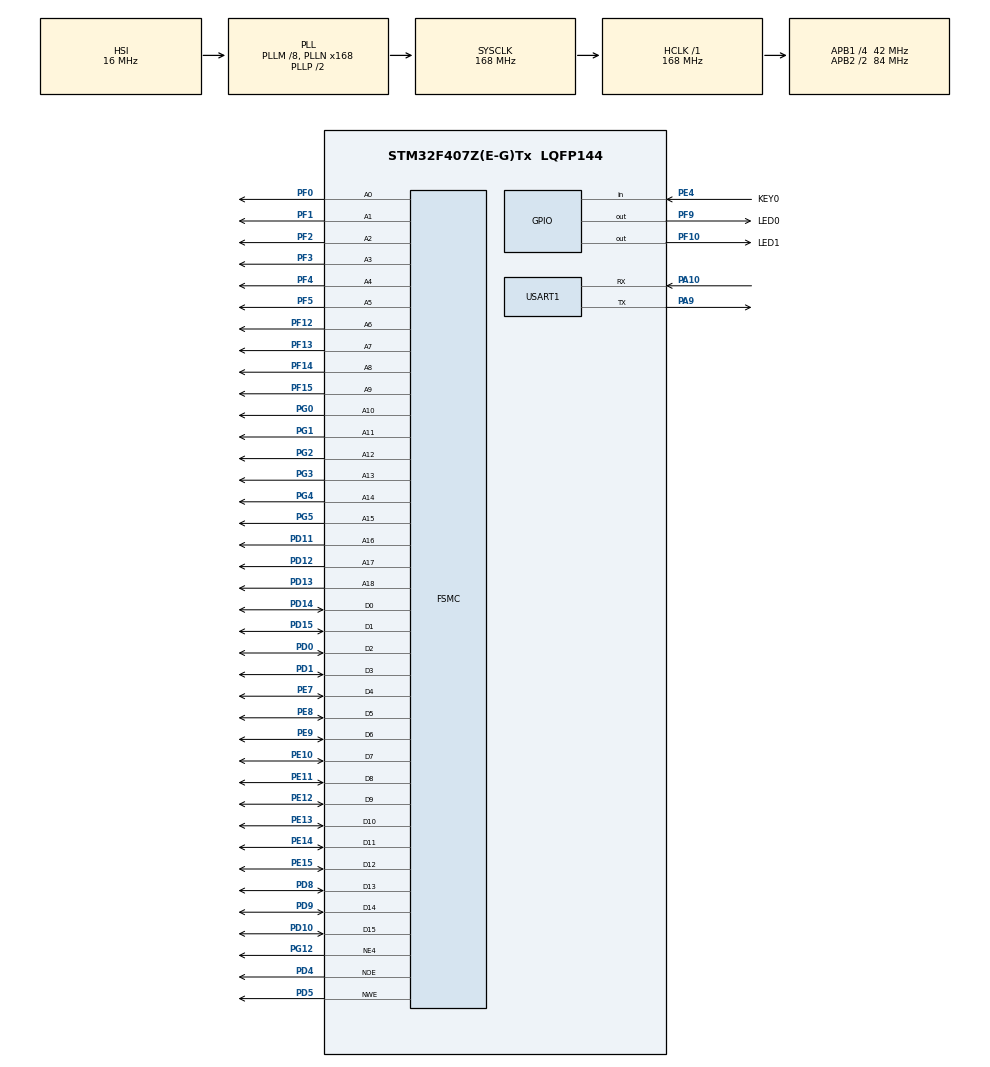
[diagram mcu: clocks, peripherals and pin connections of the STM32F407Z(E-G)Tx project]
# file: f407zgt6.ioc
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Mcu.Family=STM32F4
Mcu.Name=STM32F407Z(E-G)Tx
Mcu.Package=LQFP144
NVIC.PriorityGroup=NVIC_PRIORITYGROUP_4
NVIC.TIM2_IRQn=true\:2\:0\:true\:false\:true\:true\:true\:true
NVIC.USART1_IRQn=true\:4\:0\:true\:false\:true\:true\:true\:true
PA10.Mode=Asynchronous
PA10.Signal=USART1_RX
PA9.Mode=Asynchronous
PA9.Signal=USART1_TX
PD0.Signal=FSMC_D2_DA2
PD1.Signal=FSMC_D3_DA3
PD10.Signal=FSMC_D15_DA15
PD11.Signal=FSMC_A16_CLE
PD12.Signal=FSMC_A17_ALE
PD13.Signal=FSMC_A18
PD14.Signal=FSMC_D0_DA0
PD15.Signal=FSMC_D1_DA1
PD4.Signal=FSMC_NOE
PD5.Signal=FSMC_NWE
PD8.Signal=FSMC_D13_DA13
PD9.Signal=FSMC_D14_DA14
PE10.Signal=FSMC_D7_DA7
PE11.Signal=FSMC_D8_DA8
PE12.Signal=FSMC_D9_DA9
PE13.Signal=FSMC_D10_DA10
PE14.Signal=FSMC_D11_DA11
PE15.Signal=FSMC_D12_DA12
PE4.GPIO_Label=KEY0
PE4.GPIO_PuPd=GPIO_PULLDOWN
PE4.Signal=GPIO_Input
PE7.Signal=FSMC_D4_DA4
PE8.Signal=FSMC_D5_DA5
PE9.Signal=FSMC_D6_DA6
PF0.Signal=FSMC_A0
PF1.Signal=FSMC_A1
PF10.GPIO_Label=LED1
PF10.PinState=GPIO_PIN_SET
PF10.Signal=GPIO_Output
PF12.Signal=FSMC_A6
PF13.Signal=FSMC_A7
PF14.Signal=FSMC_A8
PF15.Signal=FSMC_A9
PF2.Signal=FSMC_A2
PF3.Signal=FSMC_A3
PF4.Signal=FSMC_A4
PF5.Signal=FSMC_A5
PF9.GPIO_Label=LED0
PF9.PinState=GPIO_PIN_SET
PF9.Signal=GPIO_Output
PG0.Signal=FSMC_A10
PG1.Signal=FSMC_A11
PG12.Mode=NorPsramChipSelect4_1
PG12.Signal=FSMC_NE4
PG2.Signal=FSMC_A12
PG3.Signal=FSMC_A13
PG4.Signal=FSMC_A14
PG5.Signal=FSMC_A15
PH0-OSC_IN.Mode=HSE-External-Oscillator
PH0-OSC_IN.Signal=RCC_OSC_IN
PH1-OSC_OUT.Mode=HSE-External-Oscillator
PH1-OSC_OUT.Signal=RCC_OSC_OUT
ProjectManager.HeapSize=0x200
ProjectManager.StackSize=0x400
ProjectManager.TargetToolchain=STM32CubeIDE
RCC.48MHZClocksFreq_Value=84000000
RCC.AHBFreq_Value=168000000
RCC.APB1CLKDivider=RCC_HCLK_DIV4
RCC.APB1Freq_Value=42000000
RCC.APB1TimFreq_Value=84000000
RCC.APB2CLKDivider=RCC_HCLK_DIV2
RCC.APB2Freq_Value=84000000
RCC.APB2TimFreq_Value=168000000
RCC.CortexFreq_Value=168000000
RCC.HCLKFreq_Value=168000000
RCC.HSE_VALUE=8000000
RCC.HSI_VALUE=16000000
RCC.LSE_VALUE=32768
RCC.PLLM=8
RCC.PLLN=168
RCC.SYSCLKFreq_VALUE=168000000
RCC.SYSCLKSource=RCC_SYSCLKSOURCE_PLLCLK
RCC.VCOOutputFreq_Value=336000000
SH.FSMC_A0.0=FSMC_A0,19b-a1
SH.FSMC_A1.0=FSMC_A1,19b-a1
SH.FSMC_A10.0=FSMC_A10,19b-a1
SH.FSMC_A11.0=FSMC_A11,19b-a1
SH.FSMC_A12.0=FSMC_A12,19b-a1
SH.FSMC_A13.0=FSMC_A13,19b-a1
SH.FSMC_A14.0=FSMC_A14,19b-a1
SH.FSMC_A15.0=FSMC_A15,19b-a1
SH.FSMC_A16_CLE.0=FSMC_A16,19b-a1
SH.FSMC_A17_ALE.0=FSMC_A17,19b-a1
SH.FSMC_A18.0=FSMC_A18,19b-a1
SH.FSMC_A2.0=FSMC_A2,19b-a1
SH.FSMC_A3.0=FSMC_A3,19b-a1
SH.FSMC_A4.0=FSMC_A4,19b-a1
SH.FSMC_A5.0=FSMC_A5,19b-a1
SH.FSMC_A6.0=FSMC_A6,19b-a1
SH.FSMC_A7.0=FSMC_A7,19b-a1
SH.FSMC_A8.0=FSMC_A8,19b-a1
SH.FSMC_A9.0=FSMC_A9,19b-a1
SH.FSMC_D0_DA0.0=FSMC_D0,16b-d1
SH.FSMC_D10_DA10.0=FSMC_D10,16b-d1
SH.FSMC_D11_DA11.0=FSMC_D11,16b-d1
SH.FSMC_D12_DA12.0=FSMC_D12,16b-d1
SH.FSMC_D13_DA13.0=FSMC_D13,16b-d1
SH.FSMC_D14_DA14.0=FSMC_D14,16b-d1
SH.FSMC_D15_DA15.0=FSMC_D15,16b-d1
SH.FSMC_D1_DA1.0=FSMC_D1,16b-d1
SH.FSMC_D2_DA2.0=FSMC_D2,16b-d1
SH.FSMC_D3_DA3.0=FSMC_D3,16b-d1
SH.FSMC_D4_DA4.0=FSMC_D4,16b-d1
SH.FSMC_D5_DA5.0=FSMC_D5,16b-d1
SH.FSMC_D6_DA6.0=FSMC_D6,16b-d1
SH.FSMC_D7_DA7.0=FSMC_D7,16b-d1
SH.FSMC_D8_DA8.0=FSMC_D8,16b-d1
SH.FSMC_D9_DA9.0=FSMC_D9,16b-d1
SH.FSMC_NOE.0=FSMC_NOE,Sram1
SH.FSMC_NWE.0=FSMC_NWE,Sram1
TIM2.CounterMode=TIM_COUNTERMODE_CENTERALIGNED1
TIM2.Period=1000
TIM2.Prescaler=84-1
USART1.VirtualMode=VM_ASYNC
VP_TIM2_VS_ClockSourceINT.Mode=Internal
board=custom

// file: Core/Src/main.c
/* USER CODE BEGIN Header */
/**
  ******************************************************************************
  * @file           : main.c
  * @brief          : Main program body
  ******************************************************************************
  * @attention
  *
  * Copyright (c) 2023 STMicroelectronics.
  * All rights reserved.
  *
  * This software is licensed under terms that can be found in the LICENSE file
  * in the root directory of this software component.
  * If no LICENSE file comes with this software, it is provided AS-IS.
  *
  ******************************************************************************
  */
/* USER CODE END Header */
#include "main.h"
#include "tim.h"
#include "usart.h"
#include "gpio.h"
#include "lvgl.h"
/* USER CODE BEGIN Includes */

#include "stdio.h"
#include "usart.h"
#include "LCD/lcd.h"
#include "lvgl.h"
#include "lv_port_disp.h"
#include "lv_demos.h"
#include "touch/touch.h"
#include "delay.h"
#include "lv_port_indev.h"
//#include "pvz.h"
/* USER CODE END Includes */

void SystemClock_Config(void);
int t=0;
/* USER CODE BEGIN PFP */
void HAL_TIM_PeriodElapsedCallback(TIM_HandleTypeDef *htim)
{
    if (htim->Instance == TIM2)
    {
        lv_tick_inc(1);
    }
}

/**
 * Create LED's with different brightness and color
 */
void lv_example_led_1(void)
{
    /*Create a LED and switch it OFF*/
    lv_obj_t * led1  = lv_led_create(lv_scr_act());
    lv_obj_align(led1, LV_ALIGN_CENTER, -80, 0);
    lv_led_off(led1);

    /*Copy the previous LED and set a brightness*/
    lv_obj_t * led2  = lv_led_create(lv_scr_act());
    lv_obj_align(led2, LV_ALIGN_CENTER, 0, 0);
    lv_led_set_brightness(led2, 150);
    lv_led_set_color(led2, lv_palette_main(LV_PALETTE_RED));

    /*Copy the previous LED and switch it ON*/
    lv_obj_t * led3  = lv_led_create(lv_scr_act());
    lv_obj_align(led3, LV_ALIGN_CENTER, 80, 0);
    lv_led_on(led3);
}

/* USER CODE END PFP */

int main(void)
{

    /* MCU Configuration--------------------------------------------------------*/

    /* Reset of all peripherals, Initializes the Flash interface and the Systick. */
    HAL_Init();

    /* Configure the system clock */
    SystemClock_Config();

    /* Initialize all configured peripherals */
    MX_GPIO_Init();
    MX_USART1_UART_Init();
    MX_TIM2_Init();
    /* USER CODE BEGIN 2 */
    HAL_TIM_Base_Start_IT(&htim2);
    lv_init();
    lv_port_disp_init();
    lv_port_indev_init();
    lv_demo_music();
    /* USER CODE END 2 */

    /* Infinite loop */
    /* USER CODE BEGIN WHILE */
    while (1)
    {
        lv_task_handler();
        tp_dev.scan(0);
        /* USER CODE END WHILE */

    }
}

void SystemClock_Config(void)
{
    RCC_OscInitTypeDef RCC_OscInitStruct = {0};
    RCC_ClkInitTypeDef RCC_ClkInitStruct = {0};

    /** Configure the main internal regulator output voltage
    */
    __HAL_RCC_PWR_CLK_ENABLE();
    __HAL_PWR_VOLTAGESCALING_CONFIG(PWR_REGULATOR_VOLTAGE_SCALE1);

    /** Initializes the RCC Oscillators according to the specified parameters
    * in the RCC_OscInitTypeDef structure.
    */
    RCC_OscInitStruct.OscillatorType = RCC_OSCILLATORTYPE_HSI;
    RCC_OscInitStruct.HSIState = RCC_HSI_ON;
    RCC_OscInitStruct.HSICalibrationValue = RCC_HSICALIBRATION_DEFAULT;
    RCC_OscInitStruct.PLL.PLLState = RCC_PLL_ON;
    RCC_OscInitStruct.PLL.PLLSource = RCC_PLLSOURCE_HSI;
    RCC_OscInitStruct.PLL.PLLM = 8;
    RCC_OscInitStruct.PLL.PLLN = 168;
    RCC_OscInitStruct.PLL.PLLP = RCC_PLLP_DIV2;
    RCC_OscInitStruct.PLL.PLLQ = 4;
    if (HAL_RCC_OscConfig(&RCC_OscInitStruct) != HAL_OK)
    {
        Error_Handler();
    }

    /** Initializes the CPU, AHB and APB buses clocks
    */
    RCC_ClkInitStruct.ClockType = RCC_CLOCKTYPE_HCLK | RCC_CLOCKTYPE_SYSCLK
                                  | RCC_CLOCKTYPE_PCLK1 | RCC_CLOCKTYPE_PCLK2;
    RCC_ClkInitStruct.SYSCLKSource = RCC_SYSCLKSOURCE_PLLCLK;
    RCC_ClkInitStruct.AHBCLKDivider = RCC_SYSCLK_DIV1;
    RCC_ClkInitStruct.APB1CLKDivider = RCC_HCLK_DIV4;
    RCC_ClkInitStruct.APB2CLKDivider = RCC_HCLK_DIV2;

    if (HAL_RCC_ClockConfig(&RCC_ClkInitStruct, FLASH_LATENCY_5) != HAL_OK)
    {
        Error_Handler();
    }
}

void Error_Handler(void)
{
    __disable_irq();
    while (1)
    {
    }
}
